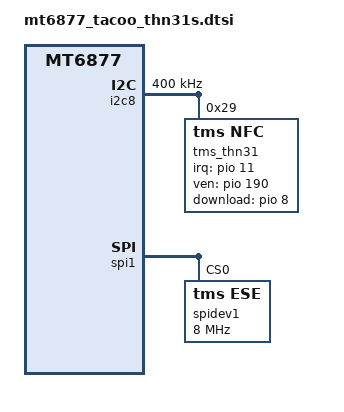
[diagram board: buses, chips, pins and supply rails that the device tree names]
/**********************************************************************************
* Copyright (c)  2008-2020  Guangdong oplus Mobile Comm Corp., Ltd
*
***********************************************************************************/
&odm {
        nfc_chipset:nfc_chipset {
                compatible = "oplus-nfc-chipset";
                chipset-23613 = "THN31";
                manifest = "/odm/etc/vintf/manifest_nfc_thn31.xml";
        };
};


&i2c8 {
       status = "okay";
       clock-frequency = <400000>;

       tms_thn31@29 {
               compatible = "tms,nfc";
               reg = <0x29>;
               tms,irq-gpio = <&pio 11 0x0>;
               tms,ven-gpio = <&pio 190 0x0>;
               tms,download-gpio = <&pio 8 0x0>;
               //pn544-clkreq = <&pio 11 0x0>;
               interrupt-parent = <&pio>;
       };
};


&spi1 {
       status = "okay";
       #address-cells = <1>;
       #size-cells = <0>;
       spidev1: ese@1 {
       compatible = "tms,ese";
       reg = <0>;
       spi-max-frequency = <8000000>;
       tms,device-name    = "tms_ese";
       tms,device-count   = <1>;
       };
};
